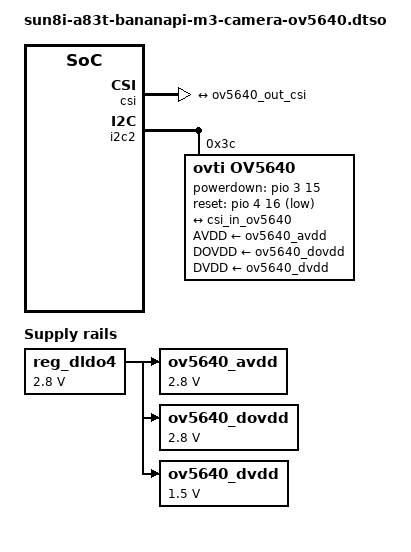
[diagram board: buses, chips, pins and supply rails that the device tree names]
// SPDX-License-Identifier: GPL-2.0 OR X11
/*
 * Copyright 2022 Bootlin
 * Author: Paul Kocialkowski <paul.kocialkowski@bootlin.com>
 */

/dts-v1/;
/plugin/;

#include <dt-bindings/clock/sun8i-a83t-ccu.h>
#include <dt-bindings/gpio/gpio.h>

&{/} {
	/*
	 * These regulators actually have DLDO4 tied to their EN pin, which is
	 * described as input supply here for lack of a better representation.
	 * Their actual supply is PS, which is always-on.
	 */

	ov5640_avdd: ov5640-avdd {
		compatible = "regulator-fixed";
		regulator-name = "ov5640-avdd";
		regulator-min-microvolt = <2800000>;
		regulator-max-microvolt = <2800000>;
		vin-supply = <&reg_dldo4>;
	};

	ov5640_dovdd: ov5640-dovdd {
		compatible = "regulator-fixed";
		regulator-name = "ov5640-dovdd";
		regulator-min-microvolt = <2800000>;
		regulator-max-microvolt = <2800000>;
		vin-supply = <&reg_dldo4>;
	};

	ov5640_dvdd: ov5640-dvdd {
		compatible = "regulator-fixed";
		regulator-name = "ov5640-dvdd";
		regulator-min-microvolt = <1500000>;
		regulator-max-microvolt = <1500000>;
		vin-supply = <&reg_dldo4>;
	};
};

&csi {
	pinctrl-names = "default";
	pinctrl-0 = <&csi_8bit_parallel_pins>;
	status = "okay";

	ports {
		#address-cells = <1>;
		#size-cells = <0>;

		port@0 {
			reg = <0>;

			csi_in_ov5640: endpoint {
				remote-endpoint = <&ov5640_out_csi>;
				bus-width = <8>;
				data-shift = <2>;
				hsync-active = <1>;
				vsync-active = <1>;
				pclk-sample = <1>;
			};
		};
	};
};

&i2c2 {
	pinctrl-names = "default";
	pinctrl-0 = <&i2c2_pe_pins>;
	status = "okay";

	#address-cells = <1>;
	#size-cells = <0>;

	ov5640: camera@3c {
		compatible = "ovti,ov5640";
		reg = <0x3c>;

		clocks = <&ccu CLK_CSI_MCLK>;
		clock-names = "xclk";
		assigned-clocks = <&ccu CLK_CSI_MCLK>;
		assigned-clock-parents = <&osc24M>;
		assigned-clock-rates = <24000000>;

		AVDD-supply = <&ov5640_avdd>;
		DOVDD-supply = <&ov5640_dovdd>;
		DVDD-supply = <&ov5640_dvdd>;

		powerdown-gpios = <&pio 3 15 GPIO_ACTIVE_HIGH>; /* PD15 */
		reset-gpios = <&pio 4 16 GPIO_ACTIVE_LOW>; /* PE16 */

		rotation = <180>;

		port {
			ov5640_out_csi: endpoint {
				remote-endpoint = <&csi_in_ov5640>;
				bus-width = <8>;
				data-shift = <2>;
				hsync-active = <1>; 
				vsync-active = <1>;
				pclk-sample = <1>;
			};
		};
	};
};

&pio {
	pinctrl-names = "default";
	pinctrl-0 = <&csi_mclk_pin>;
};

&reg_dldo4 {
	regulator-min-microvolt = <2800000>;
	regulator-max-microvolt = <2800000>;
};
